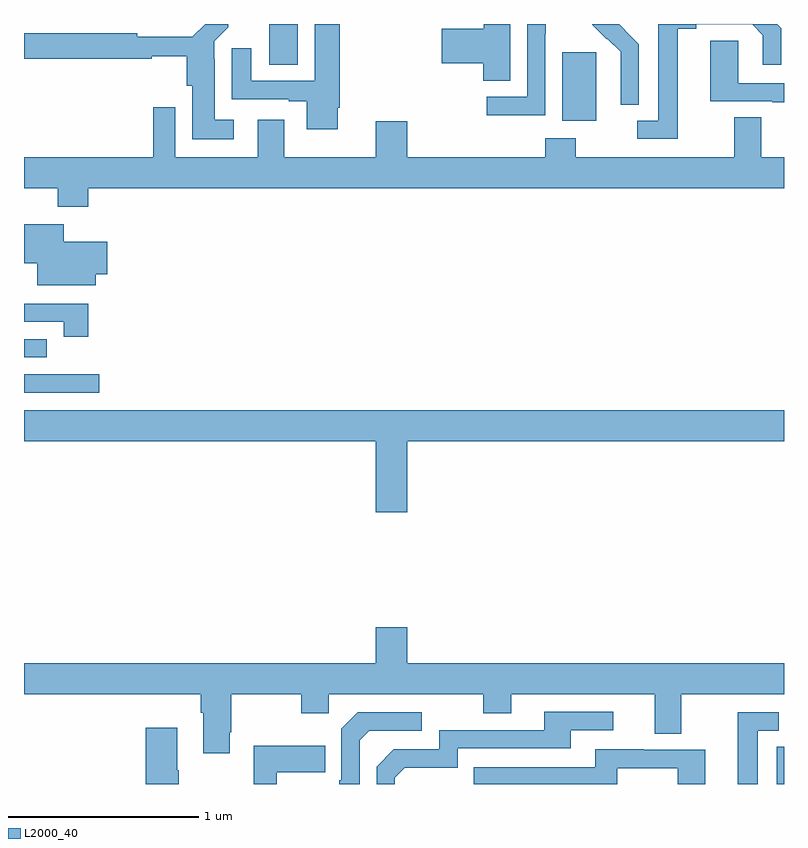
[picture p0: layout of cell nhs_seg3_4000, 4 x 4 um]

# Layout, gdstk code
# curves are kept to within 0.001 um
import gdstk
lib = gdstk.Library(unit=1e-6, precision=1e-09)
def R(c, l, rs):  # rectangles x0, y0, x1, y1
    for r in rs: c.add(gdstk.rectangle(r[:2], r[2:], *l))
def P(c, l, *ps):  # polygons
    for p in ps: c.add(gdstk.Polygon(p, *l))
L2000_40 = (2000, 40)

nhs_seg3_4000 = lib.new_cell('nhs_seg3_4000')
R(nhs_seg3_4000, L2000_40, [(322.962,744.4,323,744.596), (319,746.46,319.396,746.556), (319,746.646,319.12,746.742), (321.833,747.89,322.012,748.251), (320.291,748.186,320.44,748.4)])
P(nhs_seg3_4000, L2000_40, [(320.65,747.958),(320.663,747.958),(320.663,748.4),(320.531,748.4),(320.531,748.101),(320.197,748.101),(320.197,748.273),(320.093,748.273),(320.093,748.005),(320.393,748.005),(320.393,747.993),(320.489,747.993),(320.489,747.846),(320.65,747.846)],
  [(321.559,748.4),(321.421,748.4),(321.421,748.376),(321.198,748.376),(321.198,748.193),(321.416,748.193),(321.416,748.102),(321.559,748.102)],
  [(320.104,747.895),(320.005,747.895),(320.005,748.214),(320.001,748.214),(320.001,748.308),(320.075,748.382),(320.075,748.4),(319.954,748.4),(319.886,748.332),(319.595,748.332),(319.595,748.352),(319,748.352),(319,748.216),(319.672,748.216),(319.672,748.231),(319.856,748.231),(319.856,748.074),(319.886,748.074),(319.886,747.794),(320.104,747.794)],
  [(322.441,748.376),(322.537,748.376),(322.537,748.398),(322.832,748.398),(322.889,748.341),(322.889,748.185),(322.986,748.185),(322.986,748.378),(322.964,748.4),(322.336,748.4),(322.337,747.891),(322.227,747.891),(322.227,747.795),(322.441,747.795)],
  [(321.744,748.348),(321.747,748.348),(321.747,748.4),(321.648,748.4),(321.648,748.017),(321.435,748.017),(321.435,747.919),(321.744,747.919)],
  [(322.236,748.294),(322.132,748.4),(321.991,748.4),(321.991,748.397),(322.068,748.32),(322.071,748.323),(322.142,748.253),(322.142,748.13),(322.14,748.13),(322.14,747.976),(322.236,747.976)],
  [(323,748.089),(322.758,748.089),(322.758,748.313),(322.613,748.313),(322.613,747.993),(322.937,747.993),(322.937,747.989),(323,747.989)],
  [(323,747.7),(322.879,747.7),(322.879,747.908),(322.739,747.908),(322.739,747.7),(321.903,747.7),(321.903,747.799),(321.743,747.799),(321.743,747.7),(321.016,747.7),(321.016,747.889),(320.852,747.889),(320.852,747.7),(320.371,747.7),(320.371,747.895),(320.231,747.895),(320.231,747.7),(319.797,747.7),(319.797,747.961),(319.681,747.961),(319.681,747.7),(319,747.7),(319,747.536),(319.177,747.536),(319.177,747.437),(319.337,747.437),(319.337,747.536),(323,747.536)],
  [(319.378,747.083),(319.438,747.083),(319.438,747.253),(319.21,747.253),(319.21,747.346),(319,747.346),(319,747.141),(319.07,747.141),(319.07,747.026),(319.378,747.026)],
  [(319.339,746.928),(319,746.928),(319,746.832),(319.208,746.832),(319.208,746.754),(319.339,746.754)],
  [(321.016,746.204),(323,746.204),(323,746.368),(319,746.368),(319,746.204),(320.852,746.204),(320.852,745.83),(321.016,745.83)],
  [(320.083,744.673),(320.091,744.673),(320.091,744.872),(320.458,744.872),(320.458,744.773),(320.604,744.773),(320.604,744.872),(321.418,744.872),(321.418,744.773),(321.565,744.773),(321.565,744.872),(322.319,744.872),(322.319,744.664),(322.459,744.664),(322.459,744.872),(323,744.872),(323,745.036),(321.016,745.036),(321.016,745.225),(320.852,745.225),(320.852,745.036),(319,745.036),(319,744.872),(319.931,744.872),(319.931,744.776),(319.943,744.776),(319.943,744.561),(320.083,744.561)],
  [(320.952,744.432),(321.005,744.485),(321.282,744.485),(321.282,744.588),(321.877,744.588),(321.877,744.684),(322.102,744.684),(322.102,744.78),(321.737,744.78),(321.737,744.684),(321.186,744.684),(321.186,744.582),(320.946,744.582),(320.856,744.492),(320.856,744.4),(320.952,744.4)],
  [(322.861,744.681),(322.972,744.681),(322.972,744.777),(322.757,744.777),(322.757,744.4),(322.861,744.4)],
  [(320.766,744.63),(320.817,744.681),(321.094,744.681),(321.094,744.777),(320.757,744.777),(320.67,744.69),(320.67,744.421),(320.658,744.421),(320.658,744.4),(320.766,744.4)],
  [(319.815,744.473),(319.807,744.473),(319.807,744.697),(319.64,744.697),(319.64,744.4),(319.815,744.4)],
  [(320.329,744.461),(320.585,744.461),(320.585,744.601),(320.208,744.601),(320.208,744.4),(320.329,744.4)],
  [(322.122,744.483),(322.44,744.483),(322.44,744.4),(322.585,744.4),(322.585,744.579),(322.261,744.579),(322.261,744.583),(322.007,744.583),(322.007,744.489),(321.367,744.489),(321.367,744.4),(322.122,744.4)])

lib.write_gds('nhs_seg3_4000.gds')
